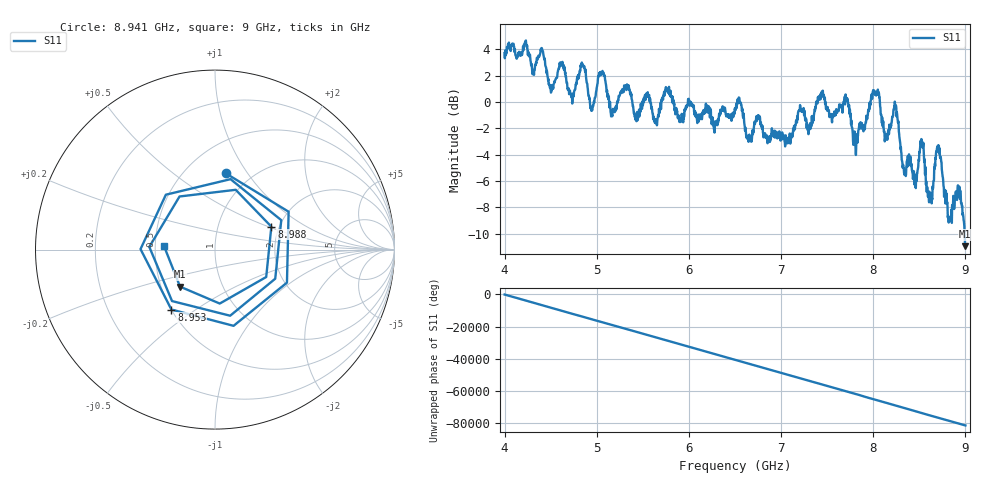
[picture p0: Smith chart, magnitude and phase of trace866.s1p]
! Created with skrf 1.8.0 (http://scikit-rf.org).
# Hz S RI R 50.0
!freq ReS11 ImS11
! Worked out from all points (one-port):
!   1601 points, 4 GHz to 9 GHz, reference 50 ohm
!   lowest |S11| = -10.9 dB at 8.997 GHz (marker M1), VSWR 1.79, Z = 31.3 - j14 ohm
!   |S11| at or under -10 dB: 8.991989 GHz to end of sweep
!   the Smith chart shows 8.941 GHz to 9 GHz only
!   S11 on the Smith chart (normalised r, x): 8.941 GHz: 0.77, +0.80; 8.953 GHz: 0.50, -0.40; 8.988 GHz: 1.82, +0.52; 9 GHz: 0.56, +0.03
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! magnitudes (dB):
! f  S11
! 4 GHz  3.7
! 4.503 GHz  0.7
! 4.625 GHz  2.9
! 4.725 GHz  0.4
! 4.853 GHz  2.7
! 4.947 GHz  -0.4
! 5.05 GHz  2.3
! 5.162 GHz  -1.0
! 5.25 GHz  0.5
! 5.875 GHz  -0.9
! 6.5 GHz  -0.6
! 7.125 GHz  -2.5
! 7.434 GHz  0.7
! 7.75 GHz  -1.1
! 7.806 GHz  -3.2
! 8.038 GHz  0.6
! 8.141 GHz  -2.8
! 8.244 GHz  -0.3
! 8.375 GHz  -4.1
! 8.525 GHz  -2.8
! 8.616 GHz  -7.4
! 8.706 GHz  -3.4
! 8.828 GHz  -8.9
! 8.941 GHz  -7.4
! 8.953 GHz  -7.7
! 8.988 GHz  -9.4
! 8.997 GHz  -10.9
! 9 GHz  -10.9
